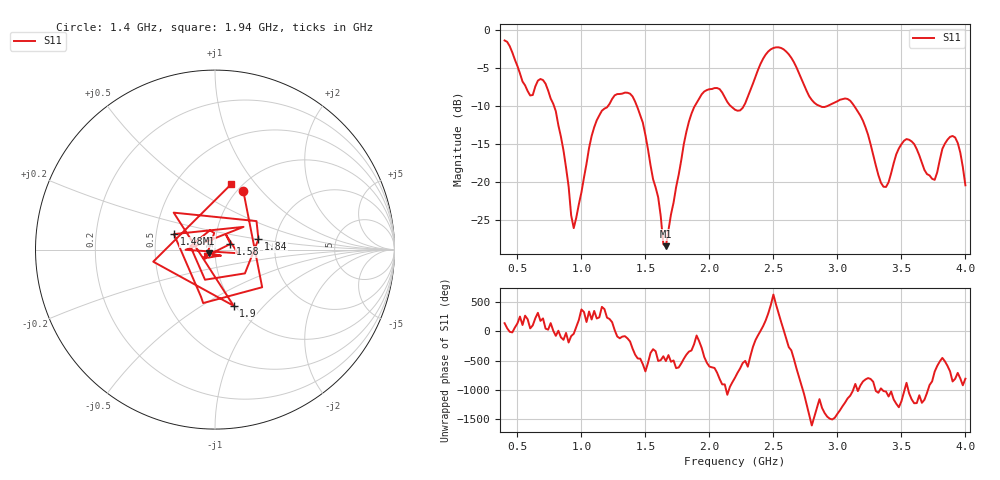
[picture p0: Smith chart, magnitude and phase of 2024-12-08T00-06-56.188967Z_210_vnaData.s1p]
!Created with skrf (http://scikit-rf.org).
# Hz S RI R 50.0
!freq ReS11 ImS11
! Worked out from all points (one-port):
!   181 points, 400 MHz to 4 GHz, reference 50 ohm
!   lowest |S11| = -28.4 dB at 1.66 GHz (marker M1), VSWR 1.08, Z = 46.9 - j1.95 ohm
!   |S11| at or under -10 dB: 785.3 MHz to 1.209 GHz (423.8 MHz wide, 42.5 % of centre); 1.433 GHz to 1.887 GHz (454.7 MHz wide, 27.4 % of centre); 3.13 GHz to end of sweep (the widest 3 of 5)
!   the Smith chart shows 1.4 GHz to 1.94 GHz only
!   S11 on the Smith chart (normalised r, x): 1.4 GHz: 1.06, +0.80; 1.48 GHz: 0.62, +0.11; 1.58 GHz: 1.19, +0.08; 1.84 GHz: 1.62, +0.20; 1.9 GHz: 0.99, -0.69; 1.94 GHz: 0.89, +0.76
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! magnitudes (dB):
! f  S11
! 400 MHz  -1.4
! 600 MHz  -8.6
! 720 MHz  -7.1
! 860 MHz  -15.9
! 940 MHz  -26.1
! 1.1 GHz  -12.8
! 1.3 GHz  -8.5
! 1.4 GHz  -8.8
! 1.48 GHz  -12.2
! 1.58 GHz  -20.7
! 1.66 GHz  -28.4
! 1.76 GHz  -19.1
! 1.84 GHz  -12.1
! 1.9 GHz  -9.6
! 1.94 GHz  -8.5
! 2.08 GHz  -7.8
! 2.2 GHz  -10.5
! 2.48 GHz  -2.6
! 2.66 GHz  -4.3
! 2.84 GHz  -9.9
! 3.1 GHz  -9.3
! 3.22 GHz  -12.9
! 3.36 GHz  -20.6
! 3.56 GHz  -14.5
! 3.76 GHz  -19.7
! 3.82 GHz  -15.7
! 3.92 GHz  -14.2
! 4 GHz  -20.4
